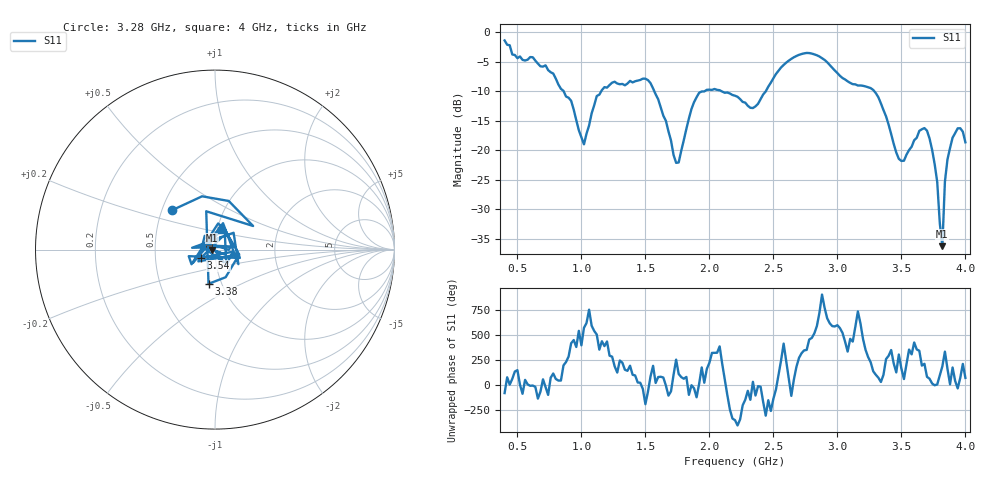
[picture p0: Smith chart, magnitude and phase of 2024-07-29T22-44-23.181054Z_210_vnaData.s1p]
!Created with skrf (http://scikit-rf.org).
# Hz S RI R 50.0
!freq ReS11 ImS11
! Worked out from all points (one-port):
!   181 points, 400 MHz to 4 GHz, reference 50 ohm
!   lowest |S11| = -36.3 dB at 3.82 GHz (marker M1), VSWR 1.03, Z = 48.5 - j0.182 ohm
!   |S11| at or under -10 dB: 1.57 GHz to 1.961 GHz (391.8 MHz wide, 22.2 % of centre); 2.096 GHz to 2.441 GHz (344.9 MHz wide, 15.2 % of centre); 3.289 GHz to end of sweep (the widest 3 of 4)
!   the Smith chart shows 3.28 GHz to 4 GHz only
!   S11 on the Smith chart (normalised r, x): 3.28 GHz: 0.56, +0.28; 3.38 GHz: 0.87, -0.34; 3.54 GHz: 0.85, -0.08; 4 GHz: 1.04, +0.24
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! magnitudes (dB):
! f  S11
! 400 MHz  -1.4
! 500 MHz  -4.4
! 720 MHz  -5.6
! 860 MHz  -9.9
! 920 MHz  -11.6
! 1.02 GHz  -19.0
! 1.12 GHz  -10.8
! 1.3 GHz  -8.8
! 1.54 GHz  -8.6
! 1.76 GHz  -22.1
! 1.92 GHz  -10.2
! 2.2 GHz  -10.8
! 2.34 GHz  -12.8
! 2.66 GHz  -4.2
! 2.84 GHz  -3.9
! 3.1 GHz  -8.6
! 3.28 GHz  -9.8
! 3.38 GHz  -14.2
! 3.48 GHz  -21.5
! 3.54 GHz  -20.7
! 3.56 GHz  -20.0
! 3.7 GHz  -16.7
! 3.78 GHz  -25.4
! 3.82 GHz  -36.3
! 3.84 GHz  -25.3
! 3.86 GHz  -21.5
! 3.94 GHz  -16.3
! 4 GHz  -18.6
